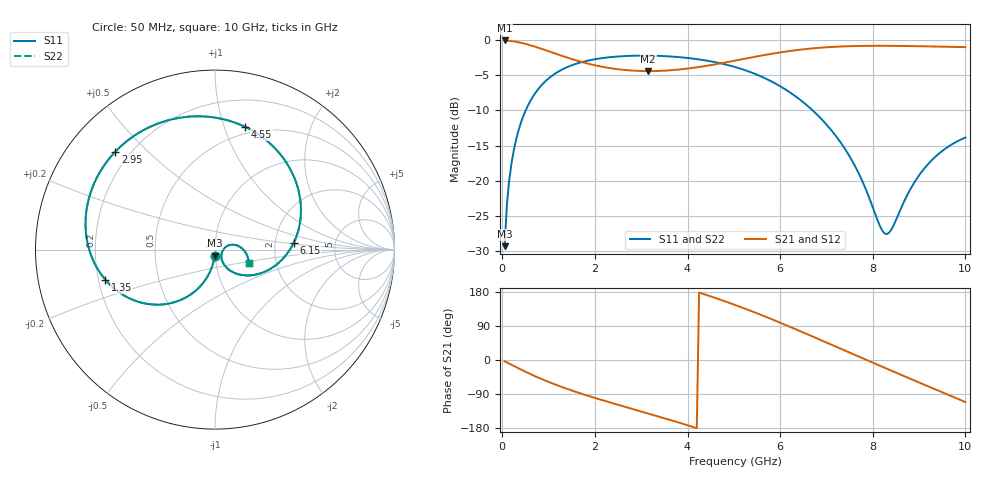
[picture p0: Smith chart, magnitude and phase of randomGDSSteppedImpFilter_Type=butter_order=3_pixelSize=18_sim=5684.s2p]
! freq	dB(S11)	phase(S11)	dB(S12)	phase(S12)
!  dB(S21)	phase(S21)	dB(S22)	phase(S22)
!S-par simulation data
#  GHz  S  DB  R 50
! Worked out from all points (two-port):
!   200 points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, 50 MHz to 10 GHz, reference 50 ohm
!   highest |S21| = -0.01 dB at 50 MHz (marker M1); lowest = -4.4 dB at 3.15 GHz (marker M2)
!   |S21| within 3 dB of the highest: start of sweep to 1.677 GHz; 4.93 GHz to end of sweep
!   lowest |S11| = -29.4 dB at 50 MHz (marker M3), VSWR 1.07, Z = 49.7 - j3.38 ohm
!   |S11| at or under -10 dB: start of sweep to 504.4 MHz; 6.704 GHz to end of sweep
!   |S22| runs from -29.4 to -2.2 dB; largest |S21 - S12| = 0
!   S11 on the Smith chart (normalised r, x): 50 MHz: 0.99, -0.07; 1.35 GHz: 0.23, -0.13; 2.95 GHz: 0.14, +0.40; 4.55 GHz: 0.43, +1.18; 6.15 GHz: 2.54, +0.23; 10 GHz: 1.44, -0.23
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0.05  -29.36 -93.4  -0.01 -3.2  -0.01 -3.2  -29.36 -93.4
0.1  -23.38 -96.8  -0.03 -6.4  -0.03 -6.4  -23.38 -96.8
0.15  -19.91 -100.1  -0.06 -9.6  -0.06 -9.6  -19.91 -100.1
0.4  -11.79 -115.6  -0.34 -25.0  -0.34 -25.0  -11.79 -115.6
0.85  -6.38 -140.8  -1.21 -50.3  -1.21 -50.3  -6.38 -140.8
1.35  -3.96 -164.6  -2.34 -74.1  -2.34 -74.1  -3.96 -164.6
1.75  -3.04 178.9  -3.14 -90.6  -3.14 -90.6  -3.04 178.8
2.3  -2.41 158.3  -3.93 -111.1  -3.93 -111.1  -2.41 158.3
2.95  -2.17 135.5  -4.35 -134.0  -4.35 -134.0  -2.17 135.4
3.15  -2.17 128.5  -4.38 -141.1  -4.38 -141.1  -2.17 128.4
3.4  -2.22 119.7  -4.35 -150.0  -4.35 -150.0  -2.22 119.6
4  -2.51 97.7  -4.02 -172.2  -4.02 -172.2  -2.51 97.6
4.55  -3.05 76.2  -3.47 165.9  -3.47 165.9  -3.05 76.1
5.05  -3.84 55.2  -2.86 144.2  -2.86 144.2  -3.84 55.1
5.6  -5.18 30.5  -2.16 118.4  -2.16 118.4  -5.18 30.4
6.15  -7.15 4.7  -1.57 90.8  -1.57 90.8  -7.15 4.5
6.7  -9.98 -21.1  -1.14 62.1  -1.14 62.1  -9.98 -21.4
7.55  -17.12 -54.7  -0.82 16.9  -0.82 16.9  -17.13 -55.1
8.2  -27.08 -35.0  -0.77 -17.5  -0.77 -17.5  -27.17 -35.3
8.35  -27.45 -10.1  -0.77 -25.4  -0.77 -25.4  -27.53 -10.1
9.2  -17.60 8.9  -0.85 -69.7  -0.85 -69.7  -17.61 8.8
10  -13.87 -22.0  -0.96 -111.0  -0.96 -111.0  -13.87 -22.2
